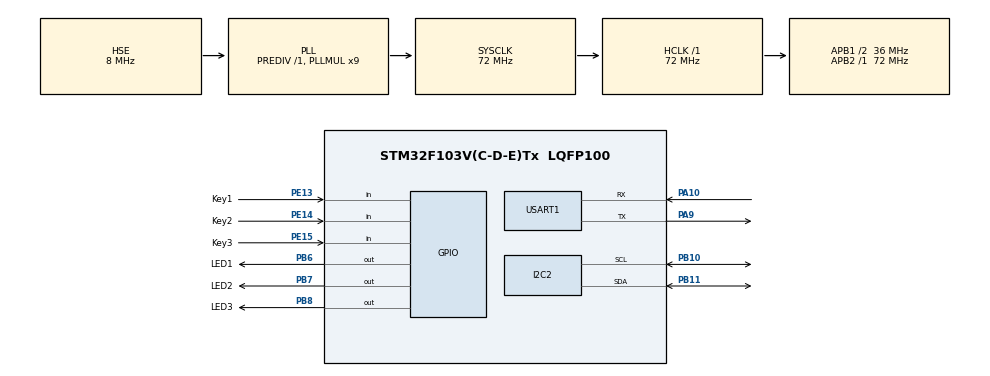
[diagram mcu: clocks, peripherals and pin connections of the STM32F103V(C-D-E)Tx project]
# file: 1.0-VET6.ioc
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Dma.I2C2_TX.0.Direction=DMA_MEMORY_TO_PERIPH
Dma.I2C2_TX.0.Instance=DMA1_Channel4
Dma.I2C2_TX.0.MemDataAlignment=DMA_MDATAALIGN_BYTE
Dma.I2C2_TX.0.MemInc=DMA_MINC_ENABLE
Dma.I2C2_TX.0.Mode=DMA_NORMAL
Dma.I2C2_TX.0.PeriphDataAlignment=DMA_PDATAALIGN_BYTE
Dma.I2C2_TX.0.PeriphInc=DMA_PINC_DISABLE
Dma.I2C2_TX.0.Priority=DMA_PRIORITY_MEDIUM
Dma.Request0=I2C2_TX
I2C2.DutyCycle=I2C_DUTYCYCLE_2
I2C2.I2C_Mode=I2C_Fast
Mcu.Family=STM32F1
Mcu.Name=STM32F103V(C-D-E)Tx
Mcu.Package=LQFP100
NVIC.DMA1_Channel4_IRQn=true\:0\:0\:true\:false\:true\:false\:true\:true
NVIC.I2C2_ER_IRQn=true\:0\:0\:false\:false\:true\:true\:true\:true
NVIC.I2C2_EV_IRQn=true\:0\:0\:false\:false\:true\:true\:true\:true
NVIC.PriorityGroup=NVIC_PRIORITYGROUP_4
OSC_IN.Mode=HSE-External-Oscillator
OSC_IN.Signal=RCC_OSC_IN
OSC_OUT.Mode=HSE-External-Oscillator
OSC_OUT.Signal=RCC_OSC_OUT
PA10.Mode=Asynchronous
PA10.Signal=USART1_RX
PA13.Mode=Serial_Wire
PA13.Signal=SYS_JTMS-SWDIO
PA14.Mode=Serial_Wire
PA14.Signal=SYS_JTCK-SWCLK
PA9.Mode=Asynchronous
PA9.Signal=USART1_TX
PB10.Mode=I2C
PB10.Signal=I2C2_SCL
PB11.Mode=I2C
PB11.Signal=I2C2_SDA
PB6.GPIO_Label=LED1
PB6.GPIO_Speed=GPIO_SPEED_FREQ_HIGH
PB6.Signal=GPIO_Output
PB7.GPIO_Label=LED2
PB7.GPIO_Speed=GPIO_SPEED_FREQ_HIGH
PB7.Signal=GPIO_Output
PB8.GPIO_Label=LED3
PB8.GPIO_Speed=GPIO_SPEED_FREQ_HIGH
PB8.Signal=GPIO_Output
PC14-OSC32_IN.Mode=LSE-External-Oscillator
PC14-OSC32_IN.Signal=RCC_OSC32_IN
PC15-OSC32_OUT.Mode=LSE-External-Oscillator
PC15-OSC32_OUT.Signal=RCC_OSC32_OUT
PE13.GPIO_Label=Key1
PE13.Signal=GPIO_Input
PE14.GPIO_Label=Key2
PE14.Signal=GPIO_Input
PE15.GPIO_Label=Key3
PE15.Signal=GPIO_Input
ProjectManager.HeapSize=0x200
ProjectManager.StackSize=0x400
ProjectManager.TargetToolchain=MDK-ARM V5.32
RCC.AHBFreq_Value=72000000
RCC.APB1CLKDivider=RCC_HCLK_DIV2
RCC.APB1Freq_Value=36000000
RCC.APB1TimFreq_Value=72000000
RCC.APB2Freq_Value=72000000
RCC.APB2TimFreq_Value=72000000
RCC.HCLKFreq_Value=72000000
RCC.PLLMUL=RCC_PLL_MUL9
RCC.PLLSourceVirtual=RCC_PLLSOURCE_HSE
RCC.SYSCLKFreq_VALUE=72000000
RCC.SYSCLKSource=RCC_SYSCLKSOURCE_PLLCLK
RCC.USBFreq_Value=72000000
USART1.VirtualMode=VM_ASYNC
board=custom

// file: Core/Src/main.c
/* USER CODE BEGIN Header */
/**
  ******************************************************************************
  * @file           : main.c
  * @brief          : Main program body
  ******************************************************************************
  * @attention
  *
  * Copyright (c) 2026 STMicroelectronics.
  * All rights reserved.
  *
  * This software is licensed under terms that can be found in the LICENSE file
  * in the root directory of this software component.
  * If no LICENSE file comes with this software, it is provided AS-IS.
  *
  ******************************************************************************
  */
/* USER CODE END Header */
#include "main.h"
#include "dma.h"
#include "i2c.h"
#include "usart.h"
#include "gpio.h"

/* USER CODE BEGIN Includes */
#include "OLED.h"
#include "math.h"
/* USER CODE END Includes */

/* USER CODE BEGIN PV */
extern uint8_t OLED_DisplayBuf[8][128];
void OLED_ClearBuffer(void)
{
    memset(OLED_DisplayBuf, 0, sizeof(OLED_DisplayBuf));
}
void Draw_SinWave(float phase)
{
    OLED_ClearBuffer();

    for(int x = 0; x < 128; x++)
    {
        float y = 32 + 20 * sinf((x + phase) * 0.1f);

        OLED_DrawPoint(x, (int16_t)y);
    }

    OLED_Update();
}
/* USER CODE END PV */

void SystemClock_Config(void);

int main(void)
{

  /* USER CODE BEGIN 1 */
	uint32_t i=0;
	float phase = 0;
  /* USER CODE END 1 */

  /* MCU Configuration--------------------------------------------------------*/

  /* Reset of all peripherals, Initializes the Flash interface and the Systick. */
  HAL_Init();

  /* Configure the system clock */
  SystemClock_Config();

  /* Initialize all configured peripherals */
  MX_GPIO_Init();
  MX_DMA_Init();
  MX_USART1_UART_Init();
  MX_I2C2_Init();
  /* USER CODE BEGIN 2 */
	OLED_Init();
  /* USER CODE END 2 */

  /* Infinite loop */
  while (1)
  {

    /* USER CODE BEGIN 3 */
//		i++;
//		OLED_ShowNum(8, 8, i, 5, OLED_6X8);
//    OLED_Update();
//		HAL_GPIO_TogglePin(LED1_GPIO_Port,LED1_Pin);
//		HAL_Delay(10);
		Draw_SinWave(phase);

    phase += 0.5;   // ??????

  }
  /* USER CODE END 3 */
}

void SystemClock_Config(void)
{
  RCC_OscInitTypeDef RCC_OscInitStruct = {0};
  RCC_ClkInitTypeDef RCC_ClkInitStruct = {0};

  /** Initializes the RCC Oscillators according to the specified parameters
  * in the RCC_OscInitTypeDef structure.
  */
  RCC_OscInitStruct.OscillatorType = RCC_OSCILLATORTYPE_HSE;
  RCC_OscInitStruct.HSEState = RCC_HSE_ON;
  RCC_OscInitStruct.HSEPredivValue = RCC_HSE_PREDIV_DIV1;
  RCC_OscInitStruct.HSIState = RCC_HSI_ON;
  RCC_OscInitStruct.PLL.PLLState = RCC_PLL_ON;
  RCC_OscInitStruct.PLL.PLLSource = RCC_PLLSOURCE_HSE;
  RCC_OscInitStruct.PLL.PLLMUL = RCC_PLL_MUL9;
  if (HAL_RCC_OscConfig(&RCC_OscInitStruct) != HAL_OK)
  {
    Error_Handler();
  }

  /** Initializes the CPU, AHB and APB buses clocks
  */
  RCC_ClkInitStruct.ClockType = RCC_CLOCKTYPE_HCLK|RCC_CLOCKTYPE_SYSCLK
                              |RCC_CLOCKTYPE_PCLK1|RCC_CLOCKTYPE_PCLK2;
  RCC_ClkInitStruct.SYSCLKSource = RCC_SYSCLKSOURCE_PLLCLK;
  RCC_ClkInitStruct.AHBCLKDivider = RCC_SYSCLK_DIV1;
  RCC_ClkInitStruct.APB1CLKDivider = RCC_HCLK_DIV2;
  RCC_ClkInitStruct.APB2CLKDivider = RCC_HCLK_DIV1;

  if (HAL_RCC_ClockConfig(&RCC_ClkInitStruct, FLASH_LATENCY_2) != HAL_OK)
  {
    Error_Handler();
  }
}

void Error_Handler(void)
{
  __disable_irq();
  while (1)
  {
  }
}
